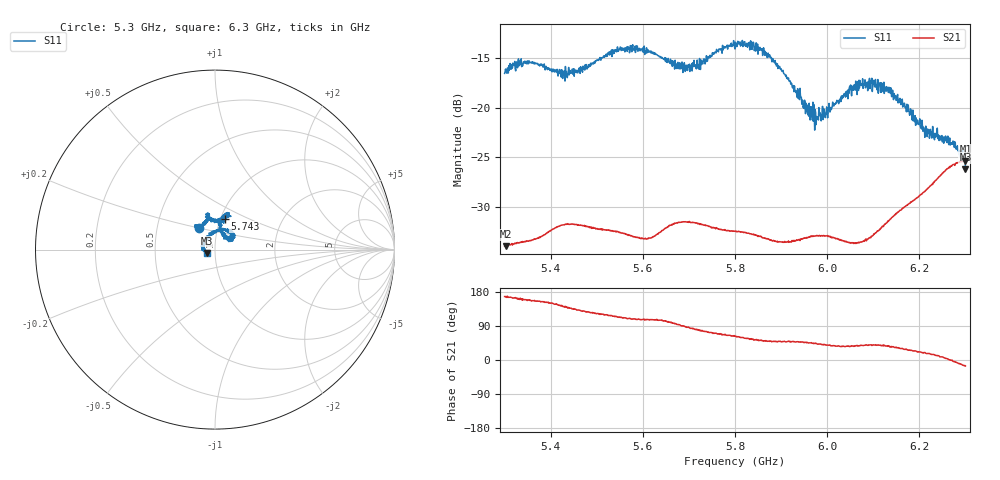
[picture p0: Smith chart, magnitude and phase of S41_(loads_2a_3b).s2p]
! NanoVNA-App
! Date: 2026-11-04 22:41:21
! Start: 5,3GHz Stop: 6,3GHz Points: 1001
! S-Parameter data: F S11 S21 S12 S22
# Hz S RI R 50
!  Frequency  S11_Real  S11_Imag  S21_Real  S21_Imag  S12_Real  S12_Imag  S22_Real  S22_Imag
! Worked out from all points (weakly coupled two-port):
!   1001 points, 5.3 GHz to 6.3 GHz, reference 50 ohm
!   highest |S21| = -25.39 dB at 6.3 GHz (marker M1); lowest = -34.0 dB at 5.303 GHz (marker M2)
!   lowest |S11| = -26.2 dB at 6.3 GHz (marker M3), VSWR 1.10, Z = 45.6 - j1.69 ohm
!   |S11| at or under -10 dB: start of sweep to end of sweep
!   S12 and S22 are empty: the file has one direction only
!   S11 on the Smith chart (normalised r, x): 5.3 GHz: 0.82, +0.20; 5.743 GHz: 1.05, +0.37; 6.3 GHz: 0.91, -0.03
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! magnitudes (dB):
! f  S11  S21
! 5.3 GHz  -16.5  -33.9
! 5.303 GHz  -16.4  -34.0
! 5.348 GHz  -15.6  -33.4
! 5.431 GHz  -17.3  -31.8
! 5.467 GHz  -16.0  -31.9
! 5.55 GHz  -14.1  -32.6
! 5.605 GHz  -14.3  -33.2
! 5.634 GHz  -14.8  -32.7
! 5.692 GHz  -16.3  -31.5
! 5.743 GHz  -14.9  -32.0
! 5.8 GHz  -14.1  -32.5
! 5.867 GHz  -14.6  -33.2
! 5.915 GHz  -17.1  -33.6
! 5.967 GHz  -20.5  -32.9
! 5.977 GHz  -20.9  -32.9
! 5.996 GHz  -21.0  -32.9
! 6.069 GHz  -17.2  -33.6
! 6.1 GHz  -17.2  -32.9
! 6.134 GHz  -17.9  -31.4
! 6.212 GHz  -23.0  -28.5
! 6.278 GHz  -23.6  -25.7
! 6.3 GHz  -26.2  -25.4
